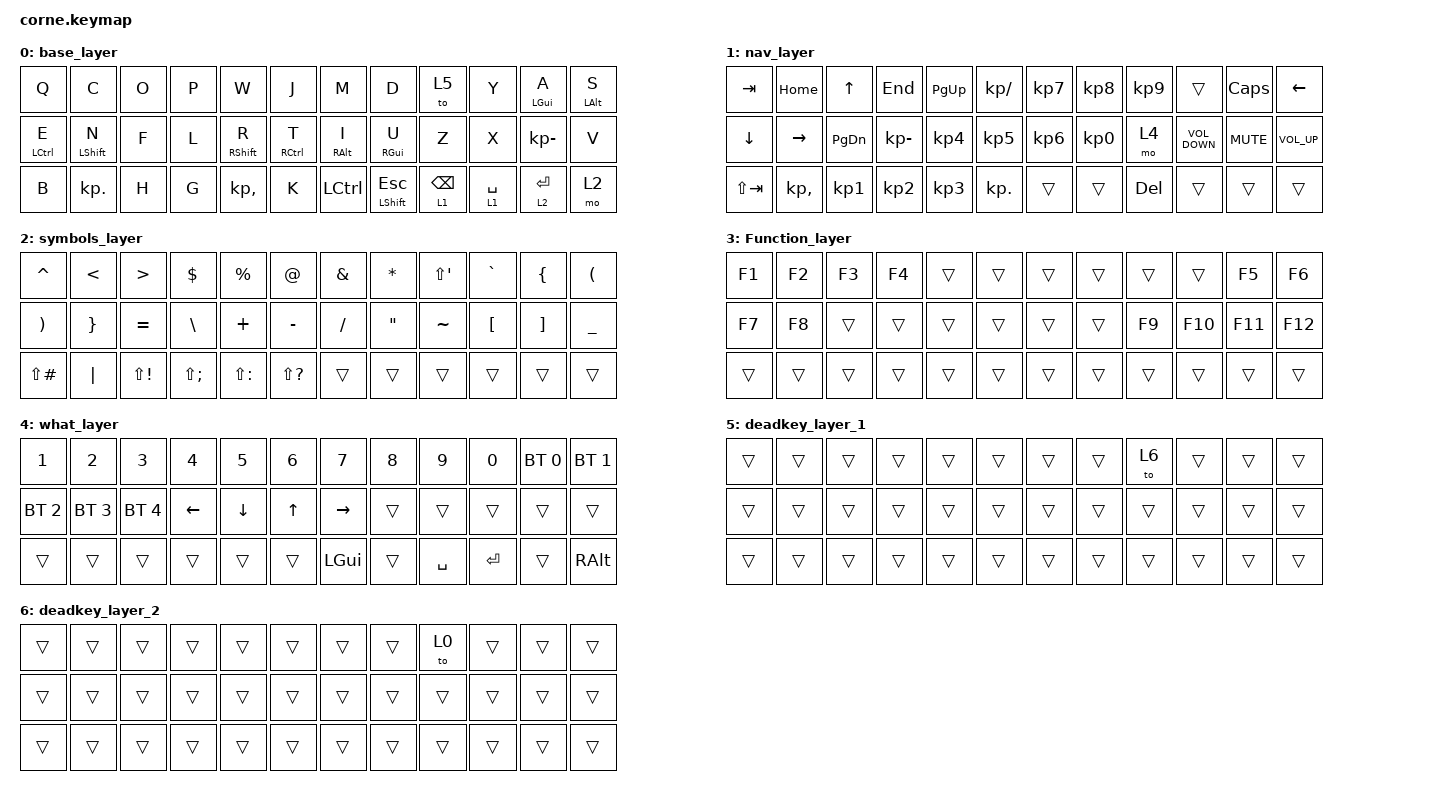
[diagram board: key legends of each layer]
/*
 * Copyright (c) 2020 The ZMK Contributors
 *
 * SPDX-License-Identifier: MIT
 */

#include <behaviors.dtsi>
#include <dt-bindings/zmk/bt.h>
#include <dt-bindings/zmk/keys.h>

/ {
    chosen { zmk,matrix-transform = &five_column_transform; };

    behaviors {
        HRM_custom: HRM_custom {
            compatible = "zmk,behavior-hold-tap";
            label = "HRM_CUSTOM";
            bindings = <&kp>, <&kp>;

            #binding-cells = <2>;
            tapping-term-ms = <200>;
            flavor = "tap-preferred";
        };
    };

    keymap {
        compatible = "zmk,keymap";

        base_layer {
            // -----------------------------------------------------------------------------------------
            // |  Q  |  W  |  E  |  R  |  T  |   |  Y  |  U   |  I  |  O  |  P  |
            // |  A  |  S  |  D  |  F  |  G  |   |  H  |  J   |  K  |  L  |  ;  |
            // |  Z  |  X  |  C  |  V  |  B  |   |  N  |  M   |  ,  |  .  |  /  |
            //                    | GUI | LWR | SPC |   | ENT | RSE  | ALT |

            bindings = <
&kp Q                       &kp C                     &kp O  &kp P  &kp W                      &kp J                          &kp M                    &kp D                    &to 5            &kp Y        &HRM_custom LEFT_GUI A  &HRM_custom LEFT_ALT S
&HRM_custom LEFT_CONTROL E  &HRM_custom LEFT_SHIFT N  &kp F  &kp L  &HRM_custom RIGHT_SHIFT R  &HRM_custom RIGHT_CONTROL T    &HRM_custom RIGHT_ALT I  &HRM_custom RIGHT_GUI U  &kp Z            &kp X        &kp KP_MINUS            &kp V
&kp B                       &kp KP_DOT                &kp H  &kp G  &kp KP_COMMA               &kp K                          &kp LEFT_CONTROL         &mt LEFT_SHIFT ESC       &lt 1 BACKSPACE  &lt 1 SPACE  &lt 2 RETURN            &mo 2
            >;
        };

        nav_layer {
            bindings = <
&kp TAB      &kp HOME      &kp UP           &kp END          &kp PAGE_UP      &kp KP_DIVIDE      &kp KP_NUMBER_7  &kp KP_NUMBER_8  &kp KP_NUMBER_9  &trans             &kp CAPS    &kp LEFT
&kp DOWN     &kp RIGHT     &kp PAGE_DOWN    &kp KP_SUBTRACT  &kp KP_NUMBER_4  &kp KP_NUMBER_5    &kp KP_NUMBER_6  &kp KP_NUMBER_0  &mo 4            &kp K_VOLUME_DOWN  &kp K_MUTE  &kp K_VOLUME_UP
&kp LS(TAB)  &kp KP_COMMA  &kp KP_NUMBER_1  &kp KP_NUMBER_2  &kp KP_NUMBER_3  &kp KP_DOT         &trans           &trans           &kp DELETE       &trans             &trans      &trans
            >;
        };

        symbols_layer {
            bindings = <
&kp CARET              &kp LESS_THAN    &kp GREATER_THAN     &kp DOLLAR    &kp PERCENT    &kp AT           &kp AMPS  &kp STAR  &kp LS(APOSTROPHE)  &kp GRAVE  &kp LBRC  &kp LEFT_PARENTHESIS
&kp RIGHT_PARENTHESIS  &kp RIGHT_BRACE  &kp EQUAL            &kp BSLH      &kp PLUS       &kp MINUS        &kp FSLH  &kp DQT   &kp TILDE           &kp LBKT   &kp RBKT  &kp UNDER
&kp LS(POUND)          &kp PIPE         &kp LS(EXCLAMATION)  &kp LS(SEMI)  &kp LS(COLON)  &kp LS(QMARK)    &trans    &trans    &trans              &trans     &trans    &trans
            >;
        };

        Function_layer {
            bindings = <
&kp F1  &kp F2  &kp F3  &kp F4  &trans  &trans    &trans  &trans  &trans  &trans   &kp F5   &kp F6
&kp F7  &kp F8  &trans  &trans  &trans  &trans    &trans  &trans  &kp F9  &kp F10  &kp F11  &kp F12
&trans  &trans  &trans  &trans  &trans  &trans    &trans  &trans  &trans  &trans   &trans   &trans
            >;
        };

        what_layer {
            // -----------------------------------------------------------------------------------------
            // |  1  |  2  |  3  |  4  |  5  |   |  6  |  7  |  8  |  9  |  0  |
            // | BT1 | BT2 | BT3 | BT4 | BT5 |   | LFT | DWN |  UP | RGT |     |
            // |     |     |     |     |     |   |     |     |     |     |     |
            //                    | GUI |     | SPC |   | ENT |     | ALT |

            bindings = <
&kp N1        &kp N2        &kp N3        &kp N4    &kp N5    &kp N6    &kp N7     &kp N8  &kp N9     &kp N0   &bt BT_SEL 0  &bt BT_SEL 1
&bt BT_SEL 2  &bt BT_SEL 3  &bt BT_SEL 4  &kp LEFT  &kp DOWN  &kp UP    &kp RIGHT  &trans  &trans     &trans   &trans        &trans
&trans        &trans        &trans        &trans    &trans    &trans    &kp LGUI   &trans  &kp SPACE  &kp RET  &trans        &kp RALT
            >;
        };

        deadkey_layer_1 {
            bindings = <
&trans  &trans  &trans  &trans  &trans  &trans    &trans  &trans  &to 6   &trans  &trans  &trans
&trans  &trans  &trans  &trans  &trans  &trans    &trans  &trans  &trans  &trans  &trans  &trans
&trans  &trans  &trans  &trans  &trans  &trans    &trans  &trans  &trans  &trans  &trans  &trans
            >;
        };

        deadkey_layer_2 {
            bindings = <
&trans  &trans  &trans  &trans  &trans  &trans    &trans  &trans  &to 0   &trans  &trans  &trans
&trans  &trans  &trans  &trans  &trans  &trans    &trans  &trans  &trans  &trans  &trans  &trans
&trans  &trans  &trans  &trans  &trans  &trans    &trans  &trans  &trans  &trans  &trans  &trans
            >;
        };
    };
};
